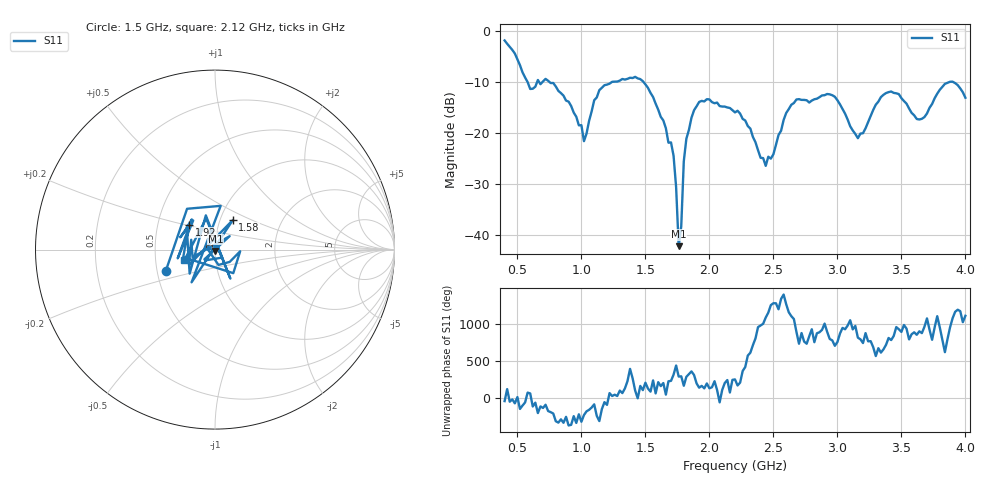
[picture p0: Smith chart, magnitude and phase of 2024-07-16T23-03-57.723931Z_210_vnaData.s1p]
!Created with skrf (http://scikit-rf.org).
# Hz S RI R 50.0
!freq ReS11 ImS11
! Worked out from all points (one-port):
!   181 points, 400 MHz to 4 GHz, reference 50 ohm
!   lowest |S11| = -42.2 dB at 1.76 GHz (marker M1), VSWR 1.02, Z = 50.2 - j0.748 ohm
!   |S11| at or under -10 dB: 748.3 MHz to 1.25 GHz (502.1 MHz wide, 50.2 % of centre); 1.483 GHz to 3.886 GHz (2.403 GHz wide, 89.5 % of centre); 3.901 GHz to end of sweep (the widest 3 of 5)
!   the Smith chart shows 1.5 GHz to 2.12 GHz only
!   S11 on the Smith chart (normalised r, x): 1.5 GHz: 0.56, -0.14; 1.58 GHz: 1.15, +0.39; 1.92 GHz: 0.72, +0.21; 2.12 GHz: 0.70, -0.09
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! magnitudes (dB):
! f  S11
! 400 MHz  -1.9
! 600 MHz  -11.4
! 720 MHz  -9.4
! 860 MHz  -12.7
! 1.02 GHz  -21.6
! 1.14 GHz  -11.6
! 1.3 GHz  -9.8
! 1.5 GHz  -10.5
! 1.58 GHz  -14.3
! 1.72 GHz  -24.5
! 1.74 GHz  -30.7
! 1.76 GHz  -42.2
! 1.78 GHz  -38.3
! 1.8 GHz  -25.5
! 1.82 GHz  -21.2
! 1.92 GHz  -14.0
! 2.12 GHz  -14.9
! 2.2 GHz  -16.0
! 2.44 GHz  -26.5
! 2.66 GHz  -14.2
! 2.96 GHz  -12.6
! 3.1 GHz  -18.7
! 3.16 GHz  -21.1
! 3.4 GHz  -12.0
! 3.56 GHz  -15.2
! 3.66 GHz  -17.3
! 3.88 GHz  -10.0
! 4 GHz  -13.1
